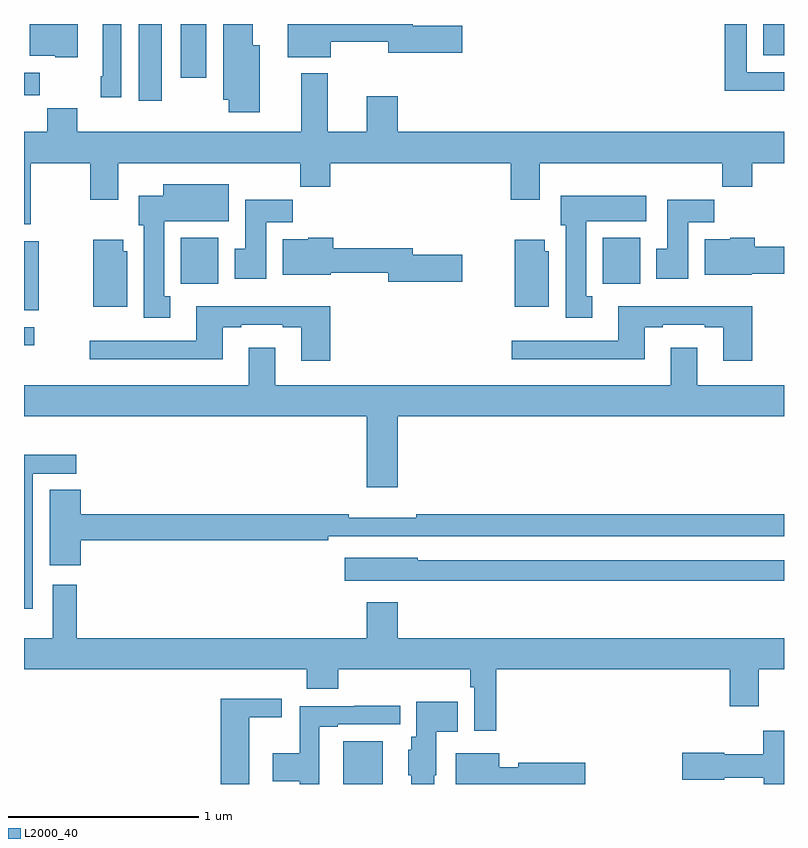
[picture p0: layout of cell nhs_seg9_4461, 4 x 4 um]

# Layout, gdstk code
import gdstk
lib = gdstk.Library(unit=1e-6, precision=1e-09)
def R(c, l, rs):  # rectangles x0, y0, x1, y1
    for r in rs: c.add(gdstk.rectangle(r[:2], r[2:], *l))
def P(c, l, *ps):  # polygons
    for p in ps: c.add(gdstk.Polygon(p, *l))
L2000_40 = (2000, 40)

nhs_seg9_4461 = lib.new_cell('nhs_seg9_4461')
R(nhs_seg9_4461, L2000_40, [(368.681,1178.5,368.887,1178.725), (367,1180.809,367.054,1180.905), (367,1180.994,367.078,1181.356), (367.826,1181.132,368.023,1181.374), (370.046,1181.132,370.243,1181.374), (367.604,1182.096,367.726,1182.5), (367,1182.126,367.082,1182.244), (367.826,1182.216,367.96,1182.5), (370.892,1182.335,371,1182.5)])
P(nhs_seg9_4461, L2000_40, [(367.282,1182.5),(367.031,1182.5),(367.031,1182.332),(367.164,1182.332),(367.164,1182.326),(367.282,1182.326)],
  [(367.512,1182.5),(367.415,1182.5),(367.415,1182.226),(367.404,1182.226),(367.404,1182.114),(367.512,1182.114)],
  [(368.614,1182.406),(368.918,1182.406),(368.918,1182.349),(369.307,1182.349),(369.307,1182.491),(369.046,1182.491),(369.046,1182.5),(368.387,1182.5),(368.387,1182.326),(368.614,1182.326)],
  [(370.979,1182.15),(371,1182.15),(371,1182.246),(370.803,1182.246),(370.803,1182.5),(370.687,1182.5),(370.687,1182.149),(370.979,1182.149)],
  [(368.242,1182.388),(368.203,1182.388),(368.203,1182.499),(368.048,1182.499),(368.048,1182.101),(368.077,1182.101),(368.077,1182.036),(368.242,1182.036)],
  [(367.036,1181.768),(367.348,1181.768),(367.348,1181.574),(367.495,1181.574),(367.495,1181.768),(368.455,1181.768),(368.455,1181.644),(368.612,1181.644),(368.612,1181.768),(369.563,1181.768),(369.563,1181.574),(369.715,1181.574),(369.715,1181.768),(370.675,1181.768),(370.675,1181.644),(370.832,1181.644),(370.832,1181.768),(371,1181.768),(371,1181.932),(368.968,1181.932),(368.968,1182.121),(368.804,1182.121),(368.804,1181.932),(368.599,1181.932),(368.599,1182.241),(368.459,1182.241),(368.459,1181.932),(367.28,1181.932),(367.28,1182.056),(367.123,1182.056),(367.123,1181.932),(367,1181.932),(367,1181.445),(367.036,1181.445)],
  [(367.771,1181.066),(367.738,1181.066),(367.738,1181.462),(368.077,1181.462),(368.077,1181.656),(367.733,1181.656),(367.733,1181.596),(367.604,1181.596),(367.604,1181.442),(367.631,1181.442),(367.631,1180.953),(367.771,1180.953)],
  [(369.991,1181.066),(369.958,1181.066),(369.958,1181.462),(370.276,1181.462),(370.276,1181.596),(369.824,1181.596),(369.824,1181.442),(369.851,1181.442),(369.851,1180.953),(369.991,1180.953)],
  [(370.495,1181.456),(370.634,1181.456),(370.634,1181.575),(370.385,1181.575),(370.385,1181.316),(370.328,1181.316),(370.328,1181.16),(370.495,1181.16)],
  [(368.275,1181.456),(368.414,1181.456),(368.414,1181.574),(368.165,1181.574),(368.165,1181.316),(368.108,1181.316),(368.108,1181.16),(368.275,1181.16)],
  [(369.307,1181.286),(369.046,1181.286),(369.046,1181.32),(368.627,1181.32),(368.627,1181.374),(368.496,1181.374),(368.496,1181.368),(368.363,1181.368),(368.363,1181.18),(368.614,1181.18),(368.614,1181.191),(368.918,1181.191),(368.918,1181.144),(369.307,1181.144)],
  [(370.83,1181.186),(371,1181.186),(371,1181.328),(370.847,1181.328),(370.847,1181.374),(370.716,1181.374),(370.716,1181.368),(370.583,1181.368),(370.583,1181.18),(370.83,1181.18)],
  [(367.543,1181.304),(367.522,1181.304),(367.522,1181.365),(367.364,1181.365),(367.364,1181.012),(367.543,1181.012)],
  [(369.763,1181.304),(369.742,1181.304),(369.742,1181.365),(369.584,1181.365),(369.584,1181.012),(369.763,1181.012)],
  [(370.832,1181.014),(370.127,1181.014),(370.127,1180.833),(369.567,1180.833),(369.567,1180.736),(370.267,1180.736),(370.267,1180.905),(370.363,1180.905),(370.363,1180.917),(370.583,1180.917),(370.583,1180.905),(370.679,1180.905),(370.679,1180.728),(370.832,1180.728)],
  [(368.612,1181.014),(367.907,1181.014),(367.907,1180.833),(367.347,1180.833),(367.347,1180.736),(368.047,1180.736),(368.047,1180.905),(368.143,1180.905),(368.143,1180.917),(368.363,1180.917),(368.363,1180.905),(368.459,1180.905),(368.459,1180.728),(368.612,1180.728)],
  [(368.968,1180.436),(371,1180.436),(371,1180.6),(370.543,1180.6),(370.543,1180.795),(370.403,1180.795),(370.403,1180.6),(368.323,1180.6),(368.323,1180.795),(368.183,1180.795),(368.183,1180.6),(367,1180.6),(367,1180.436),(368.804,1180.436),(368.804,1180.062),(368.968,1180.062)],
  [(367.047,1180.134),(367.276,1180.134),(367.276,1180.232),(367,1180.232),(367,1179.422),(367.047,1179.422)],
  [(367.298,1179.784),(368.6,1179.784),(368.6,1179.804),(371,1179.804),(371,1179.92),(369.064,1179.92),(369.064,1179.901),(368.708,1179.901),(368.708,1179.92),(367.298,1179.92),(367.298,1180.049),(367.136,1180.049),(367.136,1179.651),(367.298,1179.651)],
  [(369.072,1179.57),(371,1179.57),(371,1179.678),(369.072,1179.678),(369.072,1179.691),(368.688,1179.691),(368.688,1179.569),(369.072,1179.569)],
  [(369.485,1179.104),(370.715,1179.104),(370.715,1178.91),(370.867,1178.91),(370.867,1179.104),(371,1179.104),(371,1179.268),(368.968,1179.268),(368.968,1179.457),(368.804,1179.457),(368.804,1179.268),(367.277,1179.268),(367.277,1179.55),(367.151,1179.55),(367.151,1179.268),(367,1179.268),(367,1179.104),(368.489,1179.104),(368.489,1179.002),(368.654,1179.002),(368.654,1179.104),(369.349,1179.104),(369.349,1179.008),(369.369,1179.008),(369.369,1178.781),(369.485,1178.781)],
  [(368.185,1178.852),(368.356,1178.852),(368.356,1178.95),(368.036,1178.95),(368.036,1178.5),(368.185,1178.5)],
  [(369.16,1178.547),(369.169,1178.547),(369.169,1178.774),(369.284,1178.774),(369.284,1178.932),(369.065,1178.932),(369.065,1178.748),(369.038,1178.748),(369.038,1178.679),(369.023,1178.679),(369.023,1178.547),(369.038,1178.547),(369.038,1178.5),(369.16,1178.5)],
  [(368.553,1178.802),(368.65,1178.802),(368.65,1178.814),(368.98,1178.814),(368.98,1178.912),(368.737,1178.912),(368.737,1178.91),(368.452,1178.91),(368.452,1178.662),(368.31,1178.662),(368.31,1178.515),(368.452,1178.515),(368.452,1178.5),(368.553,1178.5)],
  [(371,1178.779),(370.892,1178.779),(370.892,1178.656),(370.686,1178.656),(370.686,1178.664),(370.464,1178.664),(370.464,1178.522),(370.686,1178.522),(370.686,1178.534),(370.894,1178.534),(370.894,1178.5),(371,1178.5)],
  [(369.955,1178.612),(369.602,1178.612),(369.602,1178.588),(369.502,1178.588),(369.502,1178.662),(369.272,1178.662),(369.272,1178.5),(369.955,1178.5)])

lib.write_gds('nhs_seg9_4461.gds')
